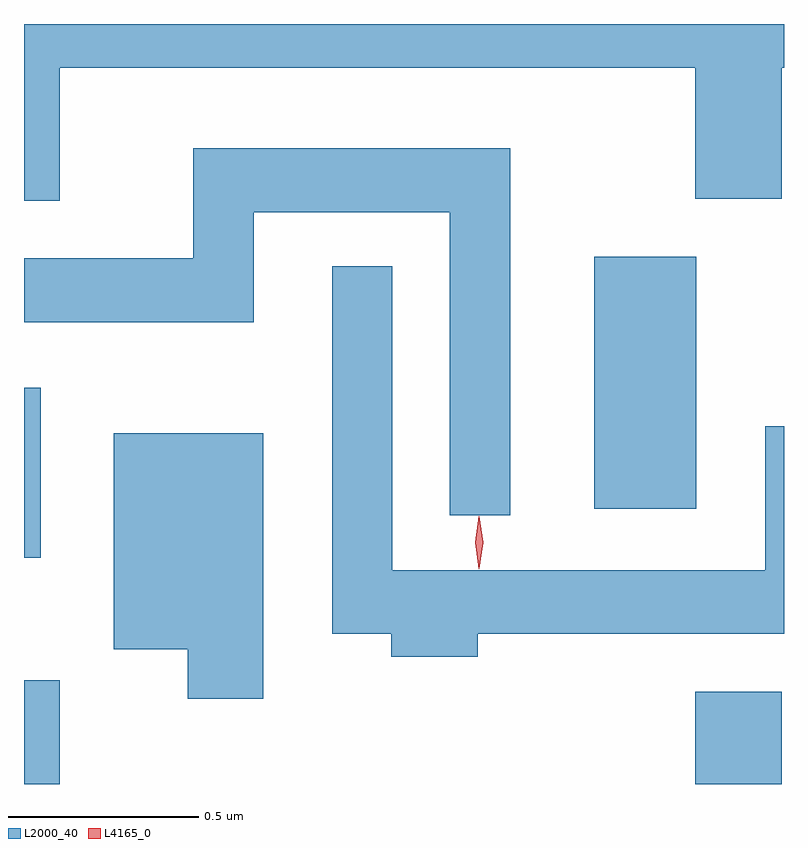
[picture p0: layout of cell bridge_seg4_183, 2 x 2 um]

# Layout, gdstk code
import gdstk
lib = gdstk.Library(unit=1e-6, precision=1e-09)
def R(c, l, rs):  # rectangles x0, y0, x1, y1
    for r in rs: c.add(gdstk.rectangle(r[:2], r[2:], *l))
def P(c, l, *ps):  # polygons
    for p in ps: c.add(gdstk.Polygon(p, *l))
L2000_40 = (2000, 40)
L4165_0 = (4165, 0)

bridge_seg4_183 = lib.new_cell('bridge_seg4_183')
R(bridge_seg4_183, L2000_40, [(1051.435,1303.951,1051.529,1304.224), (1053.201,1303.951,1053.429,1304.194), (1051.435,1304.546,1051.479,1304.994), (1052.936,1304.676,1053.204,1305.339)])
P(bridge_seg4_183, L2000_40, [(1051.529,1305.836),(1053.201,1305.836),(1053.201,1305.491),(1053.429,1305.491),(1053.429,1305.836),(1053.435,1305.836),(1053.435,1305.951),(1051.435,1305.951),(1051.435,1305.486),(1051.529,1305.486)],
  [(1052.714,1305.624),(1051.881,1305.624),(1051.881,1305.334),(1051.435,1305.334),(1051.435,1305.166),(1052.039,1305.166),(1052.039,1305.456),(1052.556,1305.456),(1052.556,1304.658),(1052.714,1304.658)],
  [(1052.629,1304.346),(1053.435,1304.346),(1053.435,1304.893),(1053.386,1304.893),(1053.386,1304.514),(1052.404,1304.514),(1052.404,1305.313),(1052.246,1305.313),(1052.246,1304.346),(1052.401,1304.346),(1052.401,1304.286),(1052.629,1304.286)],
  [(1052.064,1304.874),(1051.671,1304.874),(1051.671,1304.306),(1051.866,1304.306),(1051.866,1304.176),(1052.064,1304.176)])
P(bridge_seg4_183, L4165_0, [(1052.632,1304.52),(1052.623,1304.586),(1052.632,1304.653),(1052.633,1304.653),(1052.633,1304.653),(1052.643,1304.586),(1052.633,1304.52),(1052.633,1304.52)],
  [(1052.632,1304.517),(1052.623,1304.587),(1052.632,1304.656),(1052.633,1304.656),(1052.633,1304.656),(1052.643,1304.587),(1052.633,1304.517),(1052.633,1304.517)])

lib.write_gds('bridge_seg4_183.gds')
